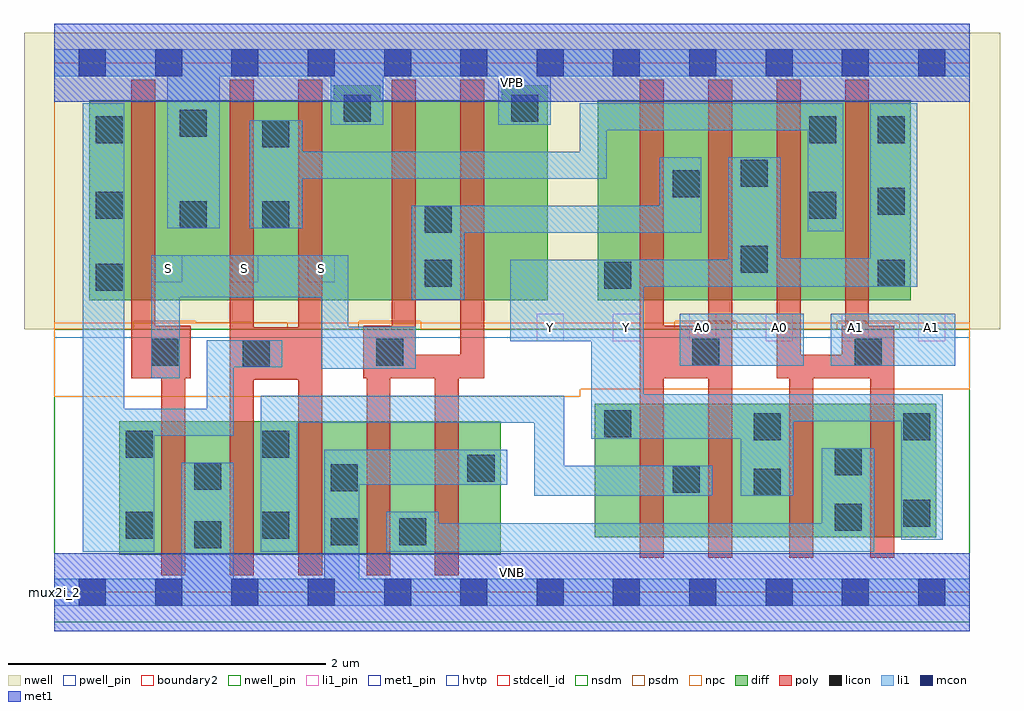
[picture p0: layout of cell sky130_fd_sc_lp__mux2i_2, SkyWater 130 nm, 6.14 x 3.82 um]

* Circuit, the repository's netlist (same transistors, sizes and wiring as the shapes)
* Copyright 2020 The SkyWater PDK Authors
*
* Licensed under the Apache License, Version 2.0 (the "License");
* you may not use this file except in compliance with the License.
* You may obtain a copy of the License at
*
*     https://www.apache.org/licenses/LICENSE-2.0
*
* Unless required by applicable law or agreed to in writing, software
* distributed under the License is distributed on an "AS IS" BASIS,
* WITHOUT WARRANTIES OR CONDITIONS OF ANY KIND, either express or implied.
* See the License for the specific language governing permissions and
* limitations under the License.
*
* SPDX-License-Identifier: Apache-2.0

.SUBCKT sky130_fd_sc_lp__mux2i_2 A0 A1 S VGND VNB VPB VPWR Y
*.PININFO A0:I A1:I S:I VGND:I VNB:I VPB:I VPWR:I Y:O
MMNA00 Y A0 smdNA0 VNB sky130_fd_pr__nfet_01v8 m=2 w=0.84U l=0.15U mult=1 sa=0.265
+ sb=0.265 sd=0.28 area=0.063 perim=1.14
MMNA01 smdNA0 Sb VGND VNB sky130_fd_pr__nfet_01v8 m=2 w=0.84U l=0.15U mult=1 sa=0.265
+ sb=0.265 sd=0.28 area=0.063 perim=1.14
MMNA10 Y A1 sndNA1 VNB sky130_fd_pr__nfet_01v8 m=2 w=0.84U l=0.15U mult=1 sa=0.265
+ sb=0.265 sd=0.28 area=0.063 perim=1.14
MMNA11 sndNA1 S VGND VNB sky130_fd_pr__nfet_01v8 m=2 w=0.84U l=0.15U mult=1 sa=0.265
+ sb=0.265 sd=0.28 area=0.063 perim=1.14
MMIN1 Sb S VGND VNB sky130_fd_pr__nfet_01v8 m=1 w=0.84U l=0.15U mult=1 sa=0.265
+ sb=0.265 sd=0.28 area=0.063 perim=1.14
MMPA00 VPWR S sndPS VPB sky130_fd_pr__pfet_01v8_hvt m=2 w=1.26U l=0.15U mult=1
+ sa=0.265 sb=0.265 sd=0.28 area=0.063 perim=1.14
MMPA01 sndPS A0 Y VPB sky130_fd_pr__pfet_01v8_hvt m=2 w=1.26U l=0.15U mult=1 sa=0.265
+ sb=0.265 sd=0.28 area=0.063 perim=1.14
MMPA10 VPWR Sb sndPSb VPB sky130_fd_pr__pfet_01v8_hvt m=2 w=1.26U l=0.15U mult=1
+ sa=0.265 sb=0.265 sd=0.28 area=0.063 perim=1.14
MMPA11 sndPSb A1 Y VPB sky130_fd_pr__pfet_01v8_hvt m=2 w=1.26U l=0.15U mult=1 sa=0.265
+ sb=0.265 sd=0.28 area=0.063 perim=1.14
MMIP1 Sb S VPWR VPB sky130_fd_pr__pfet_01v8_hvt m=1 w=1.26U l=0.15U mult=1 sa=0.265
+ sb=0.265 sd=0.28 area=0.063 perim=1.14
.ENDS sky130_fd_sc_lp__mux2i_2

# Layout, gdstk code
import gdstk
lib = gdstk.Library(unit=1e-6, precision=1e-09)
def R(c, l, rs):  # rectangles x0, y0, x1, y1
    for r in rs: c.add(gdstk.rectangle(r[:2], r[2:], *l))
def A(c, l, x, y, w, h, nx, ny, dx, dy):  # array of equal rectangles
    R(c, l, [(x+i*dx, y+j*dy, x+i*dx+w, y+j*dy+h) for i in range(nx) for j in range(ny)])
def P(c, l, *ps):  # polygons
    for p in ps: c.add(gdstk.Polygon(p, *l))
nwell_pin = (64, 16)
nwell = (64, 20)
diff = (65, 20)
poly = (66, 20)
licon = (66, 44)
li1_pin = (67, 16)
li1 = (67, 20)
mcon = (67, 44)
met1_pin = (68, 16)
met1 = (68, 20)
hvtp = (78, 44)
stdcell_id = (81, 4)
nsdm = (93, 44)
psdm = (94, 20)
npc = (95, 20)
pwell_pin = (122, 16)
boundary2 = (236, 0)

sky130_fd_sc_lp__mux2i_2 = lib.new_cell('sky130_fd_sc_lp__mux2i_2')
R(sky130_fd_sc_lp__mux2i_2, nwell_pin, [(0,3.085,5.76,3.33)])
R(sky130_fd_sc_lp__mux2i_2, nwell, [(-0.19,1.655,5.95,3.52)])
R(sky130_fd_sc_lp__mux2i_2, diff, [(0.41,0.235,2.81,1.075), (3.4,0.345,5.55,1.185), (3.42,1.835,5.39,3.095)])
P(sky130_fd_sc_lp__mux2i_2, diff, [(3.105,3.19),(2.815,3.19),(2.815,3.095),(2.05,3.095),(2.05,3.19),(1.76,3.19),(1.76,3.095),(0.22,3.095),(0.22,1.835),(3.105,1.835)])
P(sky130_fd_sc_lp__mux2i_2, poly, [(0.86,1.675),(0.635,1.675),(0.635,3.225),(0.485,3.225),(0.485,1.345),(0.675,1.345),(0.675,0.105),(0.825,0.105),(0.825,1.345),(0.86,1.345)],
  [(1.685,3.225),(1.535,3.225),(1.535,1.665),(1.255,1.665),(1.255,3.225),(1.105,3.225),(1.105,0.105),(1.255,0.105),(1.255,1.335),(1.535,1.335),(1.535,0.105),(1.685,0.105)],
  [(2.705,3.225),(2.555,3.225),(2.555,1.495),(2.275,1.495),(2.275,3.225),(2.125,3.225),(2.125,1.675),(1.945,1.675),(1.945,1.345),(1.965,1.345),(1.965,0.105),(2.115,0.105),(2.115,1.345),(2.395,1.345),(2.395,0.105),(2.545,0.105),(2.545,1.345),(2.705,1.345)],
  [(4.265,3.225),(4.115,3.225),(4.115,1.675),(3.835,1.675),(3.835,3.225),(3.685,3.225),(3.685,0.215),(3.835,0.215),(3.835,1.345),(4.115,1.345),(4.115,0.215),(4.265,0.215)],
  [(5.285,1.675),(5.125,1.675),(5.125,3.225),(4.975,3.225),(4.975,1.675),(4.955,1.675),(4.955,1.495),(4.695,1.495),(4.695,3.225),(4.545,3.225),(4.545,1.345),(4.625,1.345),(4.625,0.215),(4.775,0.215),(4.775,1.345),(5.135,1.345),(5.135,0.215),(5.285,0.215)])
R(sky130_fd_sc_lp__mux2i_2, licon, [(0.88,0.275,1.05,0.445), (1.74,0.295,1.91,0.465), (2.17,0.295,2.34,0.465), (0.45,0.335,0.62,0.505), (1.31,0.335,1.48,0.505), (4.91,0.385,5.08,0.555), (5.34,0.41,5.51,0.58), (4.4,0.605,4.57,0.775), (3.89,0.625,4.06,0.795), (1.74,0.635,1.91,0.805), (0.88,0.645,1.05,0.815), (2.6,0.695,2.77,0.865), (4.91,0.735,5.08,0.905), (0.45,0.845,0.62,1.015), (1.31,0.845,1.48,1.015), (4.4,0.955,4.57,1.125), (5.34,0.955,5.51,1.125), (3.46,0.975,3.63,1.145), (1.185,1.415,1.355,1.585), (0.61,1.425,0.78,1.595), (2.025,1.425,2.195,1.595), (4.015,1.425,4.185,1.595), (5.035,1.425,5.205,1.595), (0.26,1.895,0.43,2.065), (3.46,1.91,3.63,2.08), (2.33,1.92,2.5,2.09), (5.18,1.92,5.35,2.09), (4.32,2.01,4.49,2.18), (2.33,2.26,2.5,2.43), (0.79,2.29,0.96,2.46), (1.31,2.29,1.48,2.46), (0.26,2.35,0.43,2.52), (4.75,2.35,4.92,2.52), (5.18,2.375,5.35,2.545), (3.89,2.485,4.06,2.655), (4.32,2.55,4.49,2.72), (1.31,2.8,1.48,2.97), (0.26,2.825,0.43,2.995), (4.75,2.825,4.92,2.995), (5.18,2.825,5.35,2.995), (0.79,2.865,0.96,3.035), (1.82,2.96,1.99,3.13), (2.875,2.96,3.045,3.13)])
A(sky130_fd_sc_lp__mux2i_2, li1_pin, 3.035, 1.58, 0.17, 0.17, 6, 1, 0.48, 0)
A(sky130_fd_sc_lp__mux2i_2, li1_pin, 0.635, 1.95, 0.17, 0.17, 3, 1, 0.48, 0)
R(sky130_fd_sc_lp__mux2i_2, li1, [(3.935,1.425,4.715,1.75), (4.885,1.425,5.67,1.75)])
P(sky130_fd_sc_lp__mux2i_2, li1, [(2.795,2.94),(2.795,3.245),(2.07,3.245),(2.07,2.94),(1.74,2.94),(1.74,3.245),(1.04,3.245),(1.04,2.29),(0.71,2.29),(0.71,3.245),(0,3.245),(0,3.415),(5.76,3.415),(5.76,3.245),(3.125,3.245),(3.125,2.94)],
  [(1.7,0.085),(1.7,0.895),(2.85,0.895),(2.85,0.675),(1.92,0.675),(1.92,0.085),(5.76,0.085),(5.76,-0.085),(0,-0.085),(0,0.085),(0.8,0.085),(0.8,0.815),(1.13,0.815),(1.13,0.085)],
  [(0.96,1.585),(1.435,1.585),(1.435,1.415),(1.13,1.415),(1.13,0.985),(0.63,0.985),(0.63,0.255),(0.18,0.255),(0.18,3.075),(0.44,3.075),(0.44,1.155),(0.96,1.155)],
  [(0.61,2.12),(1.85,2.12),(1.85,1.67),(2.275,1.67),(2.275,1.405),(1.68,1.405),(1.68,1.855),(0.79,1.855),(0.79,1.345),(0.61,1.345)],
  [(4.74,2.905),(3.475,2.905),(3.475,2.6),(1.56,2.6),(1.56,2.29),(1.23,2.29),(1.23,2.97),(1.56,2.97),(1.56,2.77),(3.305,2.77),(3.305,3.075),(4.965,3.075),(4.965,2.27),(4.74,2.27)],
  [(4.57,2.1),(5.135,2.1),(5.135,3.075),(5.43,3.075),(5.43,1.92),(3.71,1.92),(3.71,1.245),(5.59,1.245),(5.59,0.33),(5.33,0.33),(5.33,1.075),(4.65,1.075),(4.65,0.605),(4.32,0.605),(4.32,0.965),(3.38,0.965),(3.38,1.58),(2.87,1.58),(2.87,2.09),(4.24,2.09),(4.24,2.735),(4.57,2.735)],
  [(2.58,2.26),(2.58,1.84),(2.25,1.84),(2.25,2.43),(3.81,2.43),(3.81,2.735),(4.07,2.735),(4.07,2.26)],
  [(3.21,0.795),(4.14,0.795),(4.14,0.605),(3.02,0.605),(3.02,1.065),(1.53,1.065),(1.53,0.255),(1.3,0.255),(1.3,1.235),(3.21,1.235)],
  [(4.83,0.435),(4.83,0.905),(5.16,0.905),(5.16,0.255),(2.09,0.255),(2.09,0.505),(2.42,0.505),(2.42,0.435)])
A(sky130_fd_sc_lp__mux2i_2, mcon, 0.155, -0.085, 0.17, 0.17, 12, 2, 0.48, 3.33)
R(sky130_fd_sc_lp__mux2i_2, met1_pin, [(0,0,5.76,0.245), (0,3.085,5.76,3.33)])
R(sky130_fd_sc_lp__mux2i_2, met1, [(0,-0.245,5.76,0.245), (0,3.085,5.76,3.575)])
R(sky130_fd_sc_lp__mux2i_2, hvtp, [(0,1.6,5.76,3.33)])
R(sky130_fd_sc_lp__mux2i_2, stdcell_id, [(0,0,5.76,3.33)])
R(sky130_fd_sc_lp__mux2i_2, nsdm, [(0,-0.19,5.76,1.655)])
P(sky130_fd_sc_lp__mux2i_2, psdm, [(5.76,3.52),(0,3.52),(0,1.655),(0.5,1.655),(0.5,1.705),(0.89,1.705),(0.89,1.695),(1.465,1.695),(1.465,1.655),(1.915,1.655),(1.915,1.705),(2.305,1.705),(2.305,1.655),(3.905,1.655),(3.905,1.705),(4.295,1.705),(4.295,1.655),(4.925,1.655),(4.925,1.705),(5.315,1.705),(5.315,1.655),(5.76,1.655)])
P(sky130_fd_sc_lp__mux2i_2, npc, [(5.76,1.695),(0,1.695),(0,1.23),(3.31,1.23),(3.31,1.275),(5.76,1.275)])
R(sky130_fd_sc_lp__mux2i_2, pwell_pin, [(0,0,5.76,0.245)])
R(sky130_fd_sc_lp__mux2i_2, boundary2, [(0,0,5.76,3.33)])
sky130_fd_sc_lp__mux2i_2.add(gdstk.Label('VNB', (2.88,0.123), layer=64, texttype=59))
sky130_fd_sc_lp__mux2i_2.add(gdstk.Label('VPB', (2.88,3.208), layer=64, texttype=5))
sky130_fd_sc_lp__mux2i_2.add(gdstk.Label('mux2i_2', (0,0), layer=83, texttype=44))
sky130_fd_sc_lp__mux2i_2.add(gdstk.Label('VPWR', (2.88,3.208), layer=68, texttype=5))
sky130_fd_sc_lp__mux2i_2.add(gdstk.Label('VGND', (2.88,0.123), layer=68, texttype=5))
sky130_fd_sc_lp__mux2i_2.add(gdstk.Label('S', (0.72,2.035), layer=67, texttype=5))
sky130_fd_sc_lp__mux2i_2.add(gdstk.Label('S', (1.2,2.035), layer=67, texttype=5))
sky130_fd_sc_lp__mux2i_2.add(gdstk.Label('S', (1.68,2.035), layer=67, texttype=5))
sky130_fd_sc_lp__mux2i_2.add(gdstk.Label('A0', (4.08,1.665), layer=67, texttype=5))
sky130_fd_sc_lp__mux2i_2.add(gdstk.Label('A0', (4.56,1.665), layer=67, texttype=5))
sky130_fd_sc_lp__mux2i_2.add(gdstk.Label('A1', (5.04,1.665), layer=67, texttype=5))
sky130_fd_sc_lp__mux2i_2.add(gdstk.Label('A1', (5.52,1.665), layer=67, texttype=5))
sky130_fd_sc_lp__mux2i_2.add(gdstk.Label('Y', (3.12,1.665), layer=67, texttype=5))
sky130_fd_sc_lp__mux2i_2.add(gdstk.Label('Y', (3.6,1.665), layer=67, texttype=5))

lib.write_gds('sky130_fd_sc_lp__mux2i_2.gds')
